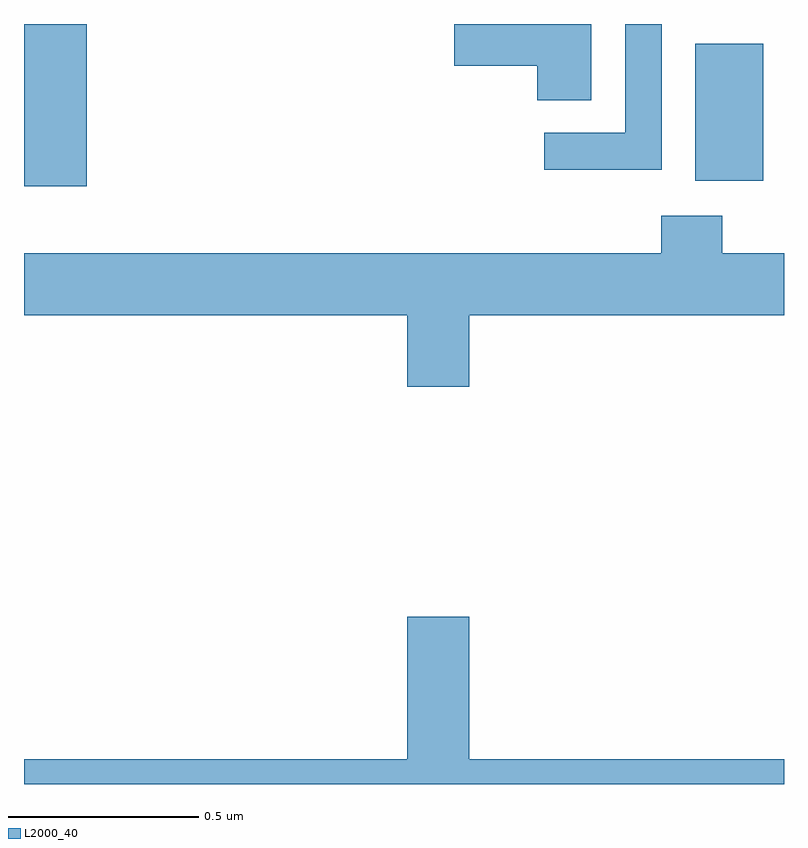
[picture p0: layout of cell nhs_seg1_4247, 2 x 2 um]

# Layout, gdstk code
import gdstk
lib = gdstk.Library(unit=1e-6, precision=1e-09)
def R(c, l, rs):  # rectangles x0, y0, x1, y1
    for r in rs: c.add(gdstk.rectangle(r[:2], r[2:], *l))
def P(c, l, *ps):  # polygons
    for p in ps: c.add(gdstk.Polygon(p, *l))
L2000_40 = (2000, 40)

nhs_seg1_4247 = lib.new_cell('nhs_seg1_4247')
R(nhs_seg1_4247, L2000_40, [(164,518.772,164.165,519.199), (165.767,518.786,165.946,519.147)])
P(nhs_seg1_4247, L2000_40, [(165.493,519.199),(165.132,519.199),(165.132,519.089),(165.35,519.089),(165.35,518.998),(165.493,518.998)],
  [(165.678,519.199),(165.582,519.199),(165.582,518.913),(165.369,518.913),(165.369,518.815),(165.678,518.815)],
  [(165.172,518.432),(166,518.432),(166,518.596),(165.837,518.596),(165.837,518.695),(165.677,518.695),(165.677,518.596),(164,518.596),(164,518.432),(165.008,518.432),(165.008,518.244),(165.172,518.244)],
  [(166,517.264),(165.172,517.264),(165.172,517.639),(165.008,517.639),(165.008,517.264),(164,517.264),(164,517.199),(166,517.199)])

lib.write_gds('nhs_seg1_4247.gds')
